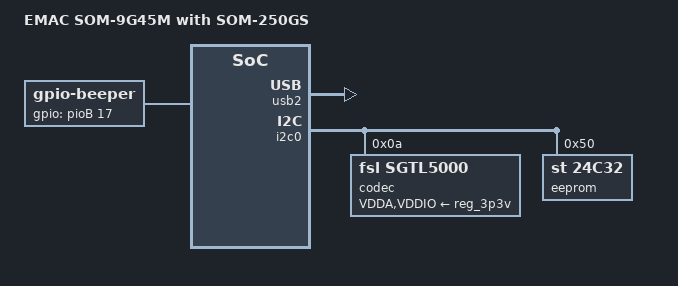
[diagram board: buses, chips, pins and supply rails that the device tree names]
/*
 * som-9g45-250gs.dts - Device Tree file for the SOM-9G45 with the SOM-250GS.
 *
 *  Copyright (C) 2019 EMAC Inc
 *
 * Licensed under GPLv2 or later.
 */
/dts-v1/;
#include "som-9g45.dtsi"

/ {
	model = "EMAC SOM-9G45M with SOM-250GS";

	ahb {
		apb {
			usb2: gadget@fff78000 {
				atmel,vbus-gpio = <&pioB 11 GPIO_ACTIVE_HIGH>;
				status = "okay";
			};

			i2c0: i2c@fff84000 {
				codec: sgtl5000@0a {
					#sound-dai-cells = <0>;
					compatible = "fsl,sgtl5000";
					reg = <0x0a>;
					VDDA-supply = <&reg_3p3v>;
					VDDIO-supply = <&reg_3p3v>;
					clocks = <&si5351 2>;
				};

				eeprom@50 {
					compatible = "st,24c32";
					reg = <0x50>;
					pagesize = <32>;
				};
			};
		};

		fb0: fb@0x00500000 {
			display0: display@0 {
				atmel,power-control-gpio = <&pioE 1 GPIO_ACTIVE_HIGH
					&pioB 31 GPIO_ACTIVE_HIGH>;

				display-timings {
					native-mode = <&timing0>;
					timing0: timing0 {
						clock-frequency = <32000000>;
						hactive = <800>;
						vactive = <480>;
						hback-porch = <86>;
						hfront-porch = <42>;
						vback-porch = <33>;
						vfront-porch = <10>;
						hsync-len = <128>;
						vsync-len = <2>;
					};
				};
			};
		};
	};

	sound {
		compatible = "simple-audio-card";
		simple-audio-card,format = "i2s";
		simple-audio-card,name = "som-250gs sgtl5000";
		simple-audio-card,bitclock-master = <&codec_master>;
		simple-audio-card,frame-master = <&codec_master>;
		simple-audio-card,widgets =
			"Microphone", "Microphone Jack",
			"Headphone", "Headphone Jack",
			"Speaker", "Speaker Ext",
			"Line", "Line In Jack";
		simple-audio-card,routing =
			"MIC_IN", "Microphone Jack",
			"Microphone Jack", "Mic Bias",
			"LINE_IN", "Line In Jack",
			"Headphone Jack", "HP_OUT",
			"Speaker Ext", "LINE_OUT";

		cpu_master: simple-audio-card,cpu {
			sound-dai = <&ssc0>;
		};

		codec_master: simple-audio-card,codec {
			sound-dai = <&codec>;
			clocks = <&si5351 2>;
		};
	};

	gpio-leds {
		red-led {
			label = "red-led";
			gpios = <&pioB 15 GPIO_ACTIVE_HIGH>;
			default-state = "on";
		};
		green-led {
			label = "green-led";
			gpios = <&pioB 16 GPIO_ACTIVE_HIGH>;
			default-state = "on";
		};
	};

	beeper {
		compatible = "gpio-beeper";
		gpios = <&pioB 17 GPIO_ACTIVE_HIGH>;
		status = "okay";
	};
};
